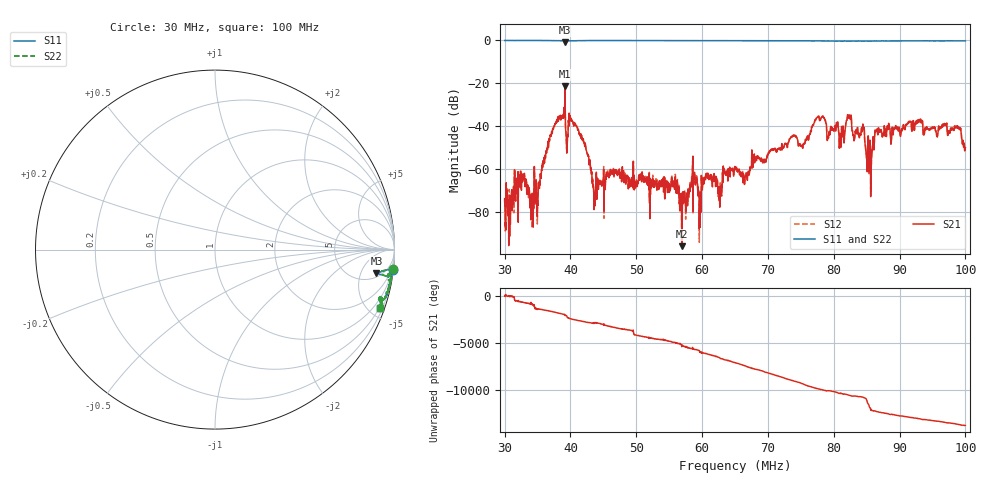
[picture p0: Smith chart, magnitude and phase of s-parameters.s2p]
!  23/08/2022  1:14:08 PM
! Ref Plane: 0.000 mm
# MHZ S MA R  50
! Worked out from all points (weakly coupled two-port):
!   2001 points, 30 MHz to 100 MHz, reference 50 ohm
!   highest |S21| = -21.32 dB at 39.17 MHz (marker M1); lowest = -96.0 dB at 56.91 MHz (marker M2)
!   lowest |S11| = -0.8 dB at 39.17 MHz (marker M3), VSWR 20.92, Z = 318 - j479 ohm
!   |S11| at or under -10 dB: nowhere
!   |S22| runs from -0.8 to 0.0 dB; largest |S21 - S12| = 0.00049
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30  0.9968 -6.4  0.000204 60.7  0.0001729 71.5  0.9966 -6.3
32.765  0.9951 -7.0  0.0006298 113.8  0.0006997 110.7  0.9952 -6.9
34.095  0.9959 -7.4  0.0001024 -89.0  0.0001946 -100.3  0.9965 -7.3
37.42  0.9861 -8.4  0.00883 146.5  0.008946 145.7  0.9865 -8.3
39.17  0.9088 -8.3  0.0859 -179.8  0.08589 -180.0  0.9075 -8.1
41.69  0.9858 -8.2  0.006142 -122.2  0.006229 -122.7  0.9857 -8.1
43.65  0.9931 -8.6  0.0002749 53.2  0.0002491 48.2  0.9933 -8.6
46.555  0.9922 -9.4  0.0009747 -67.3  0.0009767 -67.7  0.9935 -9.3
53.345  0.9937 -10.8  0.000456 99.2  0.0004983 100.7  0.9942 -10.8
56.915  0.9927 -11.7  1.589e-05 35.7  2.47e-05 -56.6  0.9928 -11.5
58.77  0.9915 -12.0  0.0005703 125.8  0.0005073 127.5  0.9917 -11.9
59.68  0.9913 -12.3  4.348e-05 -176.4  0.0001103 150.9  0.9912 -12.2
60.625  0.9906 -12.4  0.0006586 6.1  0.0006383 13.6  0.9912 -12.3
65  0.991 -13.5  0.001067 112.2  0.001073 113.0  0.9912 -13.3
76.69  0.9714 -16.5  0.009346 29.2  0.009396 28.9  0.9707 -16.3
81.205  0.9549 -17.1  0.00979 53.9  0.009853 53.8  0.9553 -17.0
82.325  0.9619 -16.8  0.01743 -115.9  0.01739 -116.0  0.9622 -16.7
85.37  0.9604 -17.1  0.0008551 171.4  0.000781 169.2  0.9615 -16.9
86.56  0.9686 -17.1  0.008452 -75.0  0.008509 -74.6  0.9696 -16.8
88.345  0.9648 -17.4  0.01164 38.7  0.01166 38.8  0.9637 -17.4
98.67  0.9765 -19.4  0.009966 36.6  0.009902 36.9  0.9772 -19.3
100  0.9756 -19.4  0.003181 -99.2  0.003174 -99.1  0.9764 -19.3
